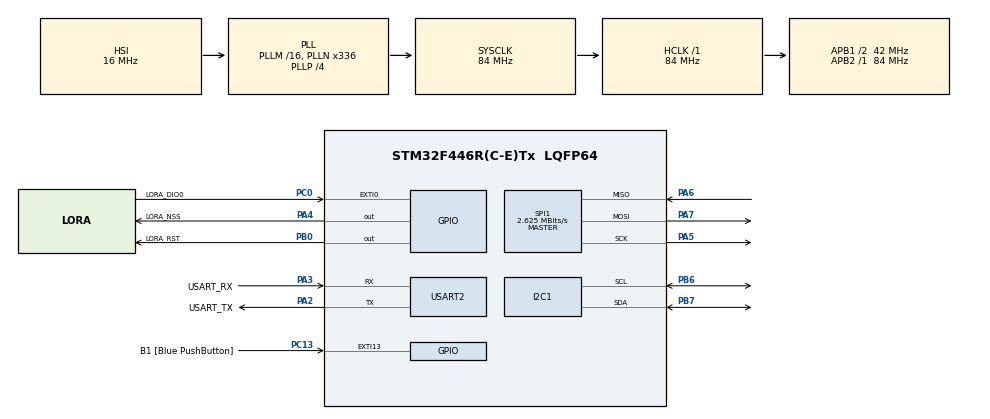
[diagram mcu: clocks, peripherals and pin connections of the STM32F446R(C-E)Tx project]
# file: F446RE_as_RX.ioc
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Mcu.Family=STM32F4
Mcu.Name=STM32F446R(C-E)Tx
Mcu.Package=LQFP64
NVIC.PriorityGroup=NVIC_PRIORITYGROUP_0
PA13.GPIO_Label=TMS
PA13.Mode=Serial_Wire
PA13.Signal=SYS_JTMS-SWDIO
PA14.GPIO_Label=TCK
PA14.Mode=Serial_Wire
PA14.Signal=SYS_JTCK-SWCLK
PA2.GPIO_Label=USART_TX
PA2.Mode=Asynchronous
PA2.Signal=USART2_TX
PA3.GPIO_Label=USART_RX
PA3.Mode=Asynchronous
PA3.Signal=USART2_RX
PA4.GPIO_Label=LORA_NSS
PA4.Signal=GPIO_Output
PA5.Mode=Full_Duplex_Master
PA5.Signal=SPI1_SCK
PA6.Mode=Full_Duplex_Master
PA6.Signal=SPI1_MISO
PA7.Mode=Full_Duplex_Master
PA7.Signal=SPI1_MOSI
PB0.GPIO_Label=LORA_RST
PB0.Signal=GPIO_Output
PB3.GPIO_Label=SWO
PB3.Signal=SYS_JTDO-SWO
PB6.Mode=I2C
PB6.Signal=I2C1_SCL
PB7.Mode=I2C
PB7.Signal=I2C1_SDA
PC0.GPIO_Label=LORA_DIO0
PC0.Signal=GPXTI0
PC13.GPIO_Label=B1 [Blue PushButton]
PC13.GPIO_ModeDefaultEXTI=GPIO_MODE_IT_FALLING
PC13.Signal=GPXTI13
PC14-OSC32_IN.Mode=LSE-External-Oscillator
PC14-OSC32_IN.Signal=RCC_OSC32_IN
PC15-OSC32_OUT.Mode=LSE-External-Oscillator
PC15-OSC32_OUT.Signal=RCC_OSC32_OUT
PH0-OSC_IN.Mode=HSE-External-Oscillator
PH0-OSC_IN.Signal=RCC_OSC_IN
PH1-OSC_OUT.Mode=HSE-External-Oscillator
PH1-OSC_OUT.Signal=RCC_OSC_OUT
ProjectManager.HeapSize=0x200
ProjectManager.StackSize=0x400
ProjectManager.TargetToolchain=STM32CubeIDE
RCC.48MHZClocksFreq_Value=84000000
RCC.AHBFreq_Value=84000000
RCC.APB1CLKDivider=RCC_HCLK_DIV2
RCC.APB1Freq_Value=42000000
RCC.APB1TimFreq_Value=84000000
RCC.APB2Freq_Value=84000000
RCC.APB2TimFreq_Value=84000000
RCC.CortexFreq_Value=84000000
RCC.FLatency-AdvancedSettings=FLASH_LATENCY_2
RCC.HCLKFreq_Value=84000000
RCC.HSE_VALUE=8000000
RCC.HSI_VALUE=16000000
RCC.PLLN=336
RCC.PLLP=RCC_PLLP_DIV4
RCC.SYSCLKFreq_VALUE=84000000
RCC.SYSCLKSource=RCC_SYSCLKSOURCE_PLLCLK
RCC.USBFreq_Value=168000000
RCC.VCOOutputFreq_Value=336000000
SPI1.BaudRatePrescaler=SPI_BAUDRATEPRESCALER_32
SPI1.CalculateBaudRate=2.625 MBits/s
SPI1.Direction=SPI_DIRECTION_2LINES
SPI1.Mode=SPI_MODE_MASTER
SPI1.VirtualType=VM_MASTER
USART2.VirtualMode=VM_ASYNC
board=NUCLEO-F446RE

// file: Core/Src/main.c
/* USER CODE BEGIN Header */
/**
 ******************************************************************************
 * @file    main.c
 * @brief   StructEye Gateway — STM32F446RE LoRa RX
 *          Receives from: 1x F207ZG (Node 3) + 3x ESP32 (Nodes 1,2,4)
 *          All nodes send identical 23-byte frames — no node-specific logic
 * needed
 ******************************************************************************
 */
/* USER CODE END Header */
#include "main.h"

/* USER CODE BEGIN Includes */
#include "lora.h"
#include <stdio.h>
#include <string.h>
/* USER CODE END Includes */

I2C_HandleTypeDef hi2c1;

SPI_HandleTypeDef hspi1;

UART_HandleTypeDef huart2;

/* USER CODE BEGIN PV */
volatile uint8_t lora_rx_flag = 0;
/* USER CODE END PV */

void SystemClock_Config(void);
static void MX_GPIO_Init(void);
static void MX_USART2_UART_Init(void);
static void MX_SPI1_Init(void);
static void MX_I2C1_Init(void);
/* USER CODE BEGIN PFP */
int _write(int file, char *ptr, int len);
uint16_t crc16(const uint8_t *data, uint16_t len);
/* USER CODE END PFP */

/* USER CODE BEGIN 0 */
int _write(int file, char *ptr, int len) {
  HAL_UART_Transmit(&huart2, (uint8_t *)ptr, len, HAL_MAX_DELAY);
  return len;
}

uint16_t crc16(const uint8_t *data, uint16_t len) {
  uint16_t crc = 0xFFFF;
  for (uint16_t i = 0; i < len; i++) {
    crc ^= (uint16_t)data[i] << 8;
    for (uint8_t j = 0; j < 8; j++) {
      if (crc & 0x8000)
        crc = (crc << 1) ^ 0x1021;
      else
        crc <<= 1;
    }
  }
  return crc;
}

void HAL_GPIO_EXTI_Callback(uint16_t GPIO_Pin) {
  if (GPIO_Pin == LORA_DIO0_Pin) {
    lora_rx_flag = 1;
  }
}
/* USER CODE END 0 */

int main(void) {

  /* MCU Configuration--------------------------------------------------------*/

  /* Reset of all peripherals, Initializes the Flash interface and the Systick.
   */
  HAL_Init();

  /* Configure the system clock */
  SystemClock_Config();

  /* Initialize all configured peripherals */
  MX_GPIO_Init();
  MX_USART2_UART_Init();
  MX_SPI1_Init();
  MX_I2C1_Init();
  /* USER CODE BEGIN 2 */
  /* Set NSS HIGH (deselected) and RST HIGH before LoRa init */
  HAL_GPIO_WritePin(LORA_NSS_GPIO_Port, LORA_NSS_Pin, GPIO_PIN_SET);
  HAL_GPIO_WritePin(LORA_RST_GPIO_Port, LORA_RST_Pin, GPIO_PIN_SET);

  /* Enable EXTI0 for DIO0 (RxDone interrupt) */
  HAL_NVIC_SetPriority(EXTI0_IRQn, 0, 0);
  HAL_NVIC_EnableIRQ(EXTI0_IRQn);

  printf(
      "\r\n============================================================\r\n");
  printf("  StructEye Gateway — STM32F446RE LoRa Receiver\r\n");
  printf("  Listening for Nodes: F207ZG(4) + ESP32(1,2,3)\r\n");
  printf("============================================================\r\n");

  SX1278_Init();

  uint8_t loraVersion = SX1278_ReadRegister(REG_VERSION);
  printf("LoRa Version: 0x%02X %s\r\n", loraVersion,
         (loraVersion == 0x12) ? "(OK)" : "(ERROR!)");

  SX1278_StartRX();
  printf("Listening for packets...\r\n\r\n");

  uint8_t rx_buffer[256];
  memset(rx_buffer, 0, sizeof(rx_buffer));
  uint32_t total_rx = 0, valid_rx = 0;
  /* USER CODE END 2 */

  /* Infinite loop */
  while (1) {

    /* USER CODE BEGIN 3 */
    if (lora_rx_flag) {
      lora_rx_flag = 0;
      uint8_t irqFlags = SX1278_ReadRegister(REG_IRQ_FLAGS);
      SX1278_WriteRegister(REG_IRQ_FLAGS, 0xFF);
      total_rx++;

      if (!(irqFlags & 0x40)) {
        SX1278_RestartRX();
        continue;
      }

      uint8_t len = SX1278_ReadRegister(REG_RX_NB_BYTES);
      if (len != 23) {
        printf("[DROP] Wrong length: %u\r\n", len);
        SX1278_RestartRX();
        continue;
      }

      uint8_t fifoAddr = SX1278_ReadRegister(REG_FIFO_RX_CURRENT_ADDR);
      SX1278_WriteRegister(REG_FIFO_ADDR_PTR, fifoAddr);

      HAL_GPIO_WritePin(LORA_NSS_GPIO_Port, LORA_NSS_Pin, GPIO_PIN_RESET);
      uint8_t reg_addr = REG_FIFO & 0x7F;
      HAL_SPI_Transmit(&hspi1, &reg_addr, 1, HAL_MAX_DELAY);
      HAL_SPI_Receive(&hspi1, rx_buffer, len, HAL_MAX_DELAY);
      HAL_GPIO_WritePin(LORA_NSS_GPIO_Port, LORA_NSS_Pin, GPIO_PIN_SET);

      if (rx_buffer[0] != 0xAA) {
        printf("[DROP] Bad start: 0x%02X\r\n", rx_buffer[0]);
        SX1278_RestartRX();
        continue;
      }

      uint16_t rx_crc = (uint16_t)((rx_buffer[21] << 8) | rx_buffer[22]);
      uint16_t calc_crc = crc16(rx_buffer, 21);
      if (rx_crc != calc_crc) {
        printf("[DROP] CRC: 0x%04X vs 0x%04X\r\n", rx_crc, calc_crc);
        SX1278_RestartRX();
        continue;
      }

      valid_rx++;
      uint8_t node_id = rx_buffer[1];
      uint8_t seq = rx_buffer[2];
      int16_t ax = (int16_t)((rx_buffer[3] << 8) | rx_buffer[4]);
      int16_t ay = (int16_t)((rx_buffer[5] << 8) | rx_buffer[6]);
      int16_t az = (int16_t)((rx_buffer[7] << 8) | rx_buffer[8]);
      int16_t gx = (int16_t)((rx_buffer[9] << 8) | rx_buffer[10]);
      int16_t gy = (int16_t)((rx_buffer[11] << 8) | rx_buffer[12]);
      int16_t gz = (int16_t)((rx_buffer[13] << 8) | rx_buffer[14]);
      uint16_t vib = (uint16_t)((rx_buffer[15] << 8) | rx_buffer[16]);
      int16_t tilt = (int16_t)((rx_buffer[17] << 8) | rx_buffer[18]);
      uint8_t status = rx_buffer[19];
      uint8_t alert = rx_buffer[20];

      const char *alert_str = "UNKNOWN";
      if (alert == 0)
        alert_str = "OK";
      else if (alert == 1)
        alert_str = "WARN";
      else if (alert == 2)
        alert_str = "CRITICAL";

      SX1278_RestartRX();

      printf("\r\n--- Packet Received ---\r\n");
      printf("Node: %u | Seq: %u | RX: %lu Valid: %lu\r\n", node_id, seq,
             total_rx, valid_rx);
      printf("Accel: X=%.2f Y=%.2f Z=%.2f m/s2\r\n", ax / 100.0f, ay / 100.0f,
             az / 100.0f);
      printf("Gyro:  X=%.2f Y=%.2f Z=%.2f deg/s\r\n", gx / 100.0f, gy / 100.0f,
             gz / 100.0f);
      printf("Vib: %.2f m/s2 | Tilt: %.2f deg\r\n", vib / 100.0f,
             tilt / 100.0f);
      printf("Status: 0x%02X | Alert: %u [%s]\r\n", status, alert, alert_str);
    }
  }
  /* USER CODE END 3 */
}

void SystemClock_Config(void) {
  RCC_OscInitTypeDef RCC_OscInitStruct = {0};
  RCC_ClkInitTypeDef RCC_ClkInitStruct = {0};

  /** Configure the main internal regulator output voltage
   */
  __HAL_RCC_PWR_CLK_ENABLE();
  __HAL_PWR_VOLTAGESCALING_CONFIG(PWR_REGULATOR_VOLTAGE_SCALE3);

  /** Initializes the RCC Oscillators according to the specified parameters
   * in the RCC_OscInitTypeDef structure.
   */
  RCC_OscInitStruct.OscillatorType = RCC_OSCILLATORTYPE_HSI;
  RCC_OscInitStruct.HSIState = RCC_HSI_ON;
  RCC_OscInitStruct.HSICalibrationValue = RCC_HSICALIBRATION_DEFAULT;
  RCC_OscInitStruct.PLL.PLLState = RCC_PLL_ON;
  RCC_OscInitStruct.PLL.PLLSource = RCC_PLLSOURCE_HSI;
  RCC_OscInitStruct.PLL.PLLM = 16;
  RCC_OscInitStruct.PLL.PLLN = 336;
  RCC_OscInitStruct.PLL.PLLP = RCC_PLLP_DIV4;
  RCC_OscInitStruct.PLL.PLLQ = 2;
  RCC_OscInitStruct.PLL.PLLR = 2;
  if (HAL_RCC_OscConfig(&RCC_OscInitStruct) != HAL_OK) {
    Error_Handler();
  }

  /** Initializes the CPU, AHB and APB buses clocks
   */
  RCC_ClkInitStruct.ClockType = RCC_CLOCKTYPE_HCLK | RCC_CLOCKTYPE_SYSCLK |
                                RCC_CLOCKTYPE_PCLK1 | RCC_CLOCKTYPE_PCLK2;
  RCC_ClkInitStruct.SYSCLKSource = RCC_SYSCLKSOURCE_PLLCLK;
  RCC_ClkInitStruct.AHBCLKDivider = RCC_SYSCLK_DIV1;
  RCC_ClkInitStruct.APB1CLKDivider = RCC_HCLK_DIV2;
  RCC_ClkInitStruct.APB2CLKDivider = RCC_HCLK_DIV1;

  if (HAL_RCC_ClockConfig(&RCC_ClkInitStruct, FLASH_LATENCY_2) != HAL_OK) {
    Error_Handler();
  }
}

static void MX_I2C1_Init(void) {

  hi2c1.Instance = I2C1;
  hi2c1.Init.ClockSpeed = 100000;
  hi2c1.Init.DutyCycle = I2C_DUTYCYCLE_2;
  hi2c1.Init.OwnAddress1 = 0;
  hi2c1.Init.AddressingMode = I2C_ADDRESSINGMODE_7BIT;
  hi2c1.Init.DualAddressMode = I2C_DUALADDRESS_DISABLE;
  hi2c1.Init.OwnAddress2 = 0;
  hi2c1.Init.GeneralCallMode = I2C_GENERALCALL_DISABLE;
  hi2c1.Init.NoStretchMode = I2C_NOSTRETCH_DISABLE;
  if (HAL_I2C_Init(&hi2c1) != HAL_OK) {
    Error_Handler();
  }
}

static void MX_SPI1_Init(void) {

  /* SPI1 parameter configuration*/
  hspi1.Instance = SPI1;
  hspi1.Init.Mode = SPI_MODE_MASTER;
  hspi1.Init.Direction = SPI_DIRECTION_2LINES;
  hspi1.Init.DataSize = SPI_DATASIZE_8BIT;
  hspi1.Init.CLKPolarity = SPI_POLARITY_LOW;
  hspi1.Init.CLKPhase = SPI_PHASE_1EDGE;
  hspi1.Init.NSS = SPI_NSS_SOFT;
  hspi1.Init.BaudRatePrescaler = SPI_BAUDRATEPRESCALER_32;
  hspi1.Init.FirstBit = SPI_FIRSTBIT_MSB;
  hspi1.Init.TIMode = SPI_TIMODE_DISABLE;
  hspi1.Init.CRCCalculation = SPI_CRCCALCULATION_DISABLE;
  hspi1.Init.CRCPolynomial = 10;
  if (HAL_SPI_Init(&hspi1) != HAL_OK) {
    Error_Handler();
  }
}

static void MX_USART2_UART_Init(void) {

  huart2.Instance = USART2;
  huart2.Init.BaudRate = 115200;
  huart2.Init.WordLength = UART_WORDLENGTH_8B;
  huart2.Init.StopBits = UART_STOPBITS_1;
  huart2.Init.Parity = UART_PARITY_NONE;
  huart2.Init.Mode = UART_MODE_TX_RX;
  huart2.Init.HwFlowCtl = UART_HWCONTROL_NONE;
  huart2.Init.OverSampling = UART_OVERSAMPLING_16;
  if (HAL_UART_Init(&huart2) != HAL_OK) {
    Error_Handler();
  }
}

static void MX_GPIO_Init(void) {
  GPIO_InitTypeDef GPIO_InitStruct = {0};

  /* GPIO Ports Clock Enable */
  __HAL_RCC_GPIOC_CLK_ENABLE();
  __HAL_RCC_GPIOH_CLK_ENABLE();
  __HAL_RCC_GPIOA_CLK_ENABLE();
  __HAL_RCC_GPIOB_CLK_ENABLE();

  /*Configure GPIO pin Output Level */
  HAL_GPIO_WritePin(LORA_NSS_GPIO_Port, LORA_NSS_Pin, GPIO_PIN_RESET);

  /*Configure GPIO pin Output Level */
  HAL_GPIO_WritePin(LORA_RST_GPIO_Port, LORA_RST_Pin, GPIO_PIN_RESET);

  /*Configure GPIO pin : B1_Pin */
  GPIO_InitStruct.Pin = B1_Pin;
  GPIO_InitStruct.Mode = GPIO_MODE_IT_FALLING;
  GPIO_InitStruct.Pull = GPIO_NOPULL;
  HAL_GPIO_Init(B1_GPIO_Port, &GPIO_InitStruct);

  /*Configure GPIO pin : LORA_DIO0_Pin */
  GPIO_InitStruct.Pin = LORA_DIO0_Pin;
  GPIO_InitStruct.Mode = GPIO_MODE_IT_RISING;
  GPIO_InitStruct.Pull = GPIO_NOPULL;
  HAL_GPIO_Init(LORA_DIO0_GPIO_Port, &GPIO_InitStruct);

  /*Configure GPIO pin : LORA_NSS_Pin */
  GPIO_InitStruct.Pin = LORA_NSS_Pin;
  GPIO_InitStruct.Mode = GPIO_MODE_OUTPUT_PP;
  GPIO_InitStruct.Pull = GPIO_NOPULL;
  GPIO_InitStruct.Speed = GPIO_SPEED_FREQ_LOW;
  HAL_GPIO_Init(LORA_NSS_GPIO_Port, &GPIO_InitStruct);

  /*Configure GPIO pin : LORA_RST_Pin */
  GPIO_InitStruct.Pin = LORA_RST_Pin;
  GPIO_InitStruct.Mode = GPIO_MODE_OUTPUT_PP;
  GPIO_InitStruct.Pull = GPIO_NOPULL;
  GPIO_InitStruct.Speed = GPIO_SPEED_FREQ_LOW;
  HAL_GPIO_Init(LORA_RST_GPIO_Port, &GPIO_InitStruct);

}

void Error_Handler(void) {
  __disable_irq();
  while (1) {
  }
}
#ifdef USE_FULL_ASSERT
/**
 * @brief  Reports the name of the source file and the source line number
 *         where the assert_param error has occurred.
 * @param  file: pointer to the source file name
 * @param  line: assert_param error line source number
 * @retval None
 */
void assert_failed(uint8_t *file, uint32_t line) {
  /* USER CODE BEGIN 6 */
  /* User can add his own implementation to report the file name and line
     number, ex: printf("Wrong parameters value: file %s on line %d\r\n", file,
     line) */
  /* USER CODE END 6 */
}
#endif /* USE_FULL_ASSERT */
// NEw
